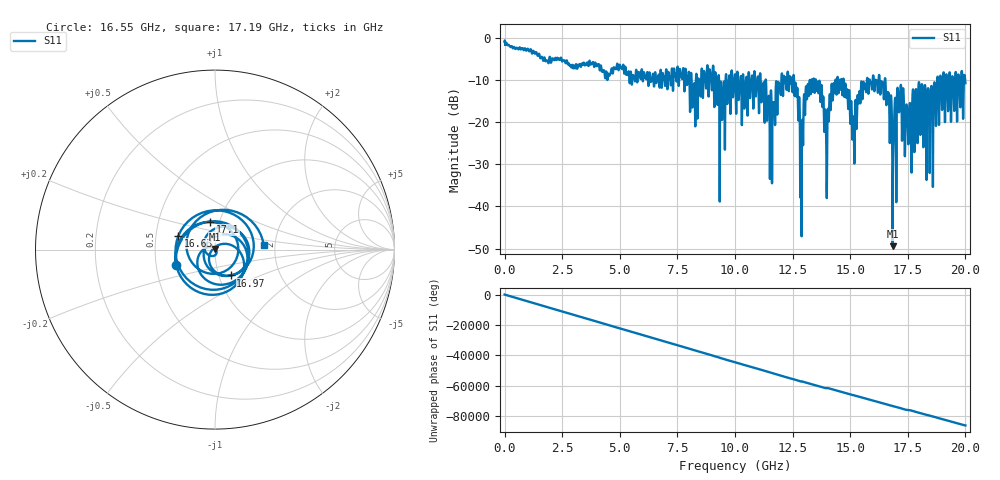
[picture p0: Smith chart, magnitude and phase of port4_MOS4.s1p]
! MS46122B
! 2250307/22442219
! 6/11/2025 1:22:02 PM
! C:\USERS\SPARKY\DOCUMENTS\VNA_DATA\JUNE11_2025\PORT4.S1P
! CHANNEL.1
! TR.MEASUREMENT
! RAW.DATA
# GHZ S RI R 50.0
! FREQ.GHZ  S11RE  S11IM
!; PortSelection: Port_1
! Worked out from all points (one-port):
!   10001 points, 1 MHz to 20 GHz, reference 50 ohm
!   lowest |S11| = -49.4 dB at 16.84 GHz (marker M1), VSWR 1.01, Z = 50.1 + j0.316 ohm
!   |S11| at or under -10 dB: 13.51 GHz to 14.36 GHz (855 MHz wide, 6.14 % of centre); 14.71 GHz to 15.73 GHz (1.014 GHz wide, 6.66 % of centre); 16.53 GHz to 18.78 GHz (2.25 GHz wide, 12.7 % of centre) (the widest 3 of 76)
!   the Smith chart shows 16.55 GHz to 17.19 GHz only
!   S11 on the Smith chart (normalised r, x): 16.55 GHz: 0.63, -0.12; 16.63 GHz: 0.65, +0.11; 16.97 GHz: 1.14, -0.34; 17.1 GHz: 0.90, +0.29; 17.19 GHz: 1.74, +0.09
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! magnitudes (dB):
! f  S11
! 1 MHz  -0.9
! 2.501 GHz  -5.7
! 5.001 GHz  -6.4
! 7.501 GHz  -7.1
! 8.211 GHz  -12.0
! 8.981 GHz  -10.9
! 9.411 GHz  -13.9
! 10 GHz  -8.7
! 11.16 GHz  -13.2
! 11.59 GHz  -19.9
! 11.96 GHz  -11.5
! 12.5 GHz  -12.9
! 12.88 GHz  -31.0
! 13.08 GHz  -11.8
! 13.33 GHz  -9.9
! 13.74 GHz  -11.5
! 13.96 GHz  -25.1
! 14.37 GHz  -10.1
! 15 GHz  -20.2
! 15.92 GHz  -11.1
! 16.55 GHz  -12.6
! 16.63 GHz  -13.2
! 16.84 GHz  -49.4
! 16.97 GHz  -15.5
! 17.1 GHz  -16.1
! 17.19 GHz  -11.3
! 17.5 GHz  -20.2
! 20 GHz  -10.8
